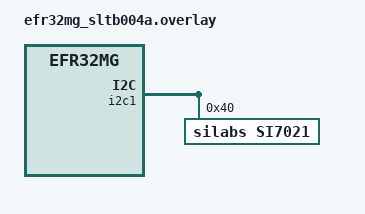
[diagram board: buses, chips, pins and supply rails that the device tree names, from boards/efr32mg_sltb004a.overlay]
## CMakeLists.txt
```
#
# Copyright (c) 2020 Nikolaus Huber, Uppsala University
#
# SPDX-License-Identifier: Apache-2.0
#

cmake_minimum_required(VERSION 3.13.1)
find_package(Zephyr REQUIRED HINTS $ENV{ZEPHYR_BASE})
project(si7021)

FILE(GLOB app_sources src/*.c)
target_sources(app PRIVATE ${app_sources})
```

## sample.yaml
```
#
# Copyright (c) 2020 Nikolaus Huber, Uppsala University
#
# SPDX-License-Identifier: Apache-2.0
#

sample:
  description: Demonstration of the SI7021 Relative Humidity and Temperature Sensor driver
  name: SI7021 sample
tests:
  sample.sensor.si7021:
    harness: sensor
    tags: sensors
    platform_allow: efr32mg_sltb004a
    depends_on: i2c
```

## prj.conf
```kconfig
#
# Copyright (c) 2020 Nikolaus Huber, Uppsala University
#
# SPDX-License-Identifier: Apache-2.0
#

CONFIG_I2C=y
CONFIG_SENSOR=y
CONFIG_SI7021=y
CONFIG_SI7021_ENABLE_CHECKSUM=y
CONFIG_GPIO=y
CONFIG_NEWLIB_LIBC=y
CONFIG_NEWLIB_LIBC_FLOAT_PRINTF=y
```

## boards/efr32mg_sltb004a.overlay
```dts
/*
 * Copyright (c) Nikolaus Huber, Uppsala University
 *
 * SPDX-License-Identifier: Apache-2.0
 */

&i2c1 {
	location-sda = <GECKO_LOCATION(17) GECKO_PORT_C GECKO_PIN(4)>;
	location-scl = <GECKO_LOCATION(17) GECKO_PORT_C GECKO_PIN(5)>;
	status = "okay";

	si7021: si7021@40 {
		compatible = "silabs,si7021";
		reg = <0x40>;
		label = "SI7021";
	};
};
```

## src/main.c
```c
/*
 * Copyright (c) Nikolaus Huber, Uppsala University
 *
 * SPDX-License-Identifier: Apache-2.0
 */

#include <zephyr.h>
#include <device.h>
#include <devicetree.h>
#include <drivers/sensor.h>
#include <stdio.h>


/* 1000 msec = 1 sec */
#define SLEEP_TIME_MS   1000


#define SI7021 DT_INST(0, silabs_si7021)
#define SI7021_LABEL DT_LABEL(SI7021)

void main(void)
{
	const struct device *dev = device_get_binding(SI7021_LABEL);

	if (dev == NULL) {
		printf("No device \"%s\" found; did initialization fail?\n", SI7021_LABEL);
		return;
	} else {
		printf("Found device \"%s\"\n", SI7021_LABEL);
	}

	for (;;) {
		struct sensor_value temp, rh;

		sensor_sample_fetch(dev);
		sensor_channel_get(dev, SENSOR_CHAN_AMBIENT_TEMP, &temp);
		sensor_channel_get(dev, SENSOR_CHAN_HUMIDITY, &rh);

		printf("Temp: %f\n", sensor_value_to_double(&temp));
		printf("RH: %f\n", sensor_value_to_double(&rh));
		k_msleep(SLEEP_TIME_MS);
	}
}
```
